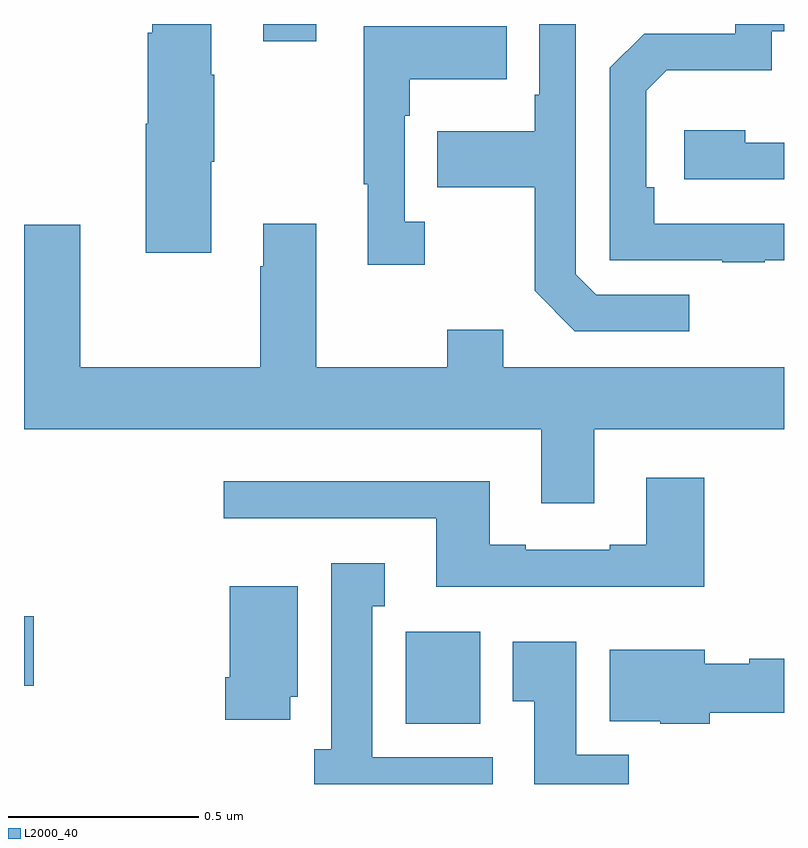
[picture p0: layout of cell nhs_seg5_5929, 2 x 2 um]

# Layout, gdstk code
import gdstk
lib = gdstk.Library(unit=1e-6, precision=1e-09)
def R(c, l, rs):  # rectangles x0, y0, x1, y1
    for r in rs: c.add(gdstk.rectangle(r[:2], r[2:], *l))
def P(c, l, *ps):  # polygons
    for p in ps: c.add(gdstk.Polygon(p, *l))
L2000_40 = (2000, 40)

nhs_seg5_5929 = lib.new_cell('nhs_seg5_5929')
R(nhs_seg5_5929, L2000_40, [(190.004,883.958,190.201,884.2), (189,884.057,189.025,884.24), (189.629,885.753,189.769,885.799)])
P(nhs_seg5_5929, L2000_40, [(190.75,885.087),(190.506,885.087),(190.452,885.141),(190.452,885.799),(190.356,885.799),(190.356,885.613),(190.344,885.613),(190.344,885.517),(190.087,885.517),(190.087,885.37),(190.344,885.37),(190.344,885.097),(190.449,884.991),(190.75,884.991)],
  [(189.493,885.437),(189.501,885.437),(189.501,885.665),(189.493,885.665),(189.493,885.799),(189.338,885.799),(189.338,885.776),(189.326,885.776),(189.326,885.537),(189.32,885.537),(189.32,885.197),(189.493,885.197)],
  [(190.949,885.177),(191,885.177),(191,885.273),(190.658,885.273),(190.658,885.37),(190.638,885.37),(190.638,885.624),(190.691,885.677),(190.968,885.677),(190.968,885.78),(191,885.78),(191,885.799),(190.872,885.799),(190.872,885.774),(190.632,885.774),(190.542,885.684),(190.542,885.177),(190.837,885.177),(190.837,885.172),(190.949,885.172)],
  [(190.054,885.278),(190.002,885.278),(190.002,885.557),(190.015,885.557),(190.015,885.653),(190.271,885.653),(190.271,885.793),(189.894,885.793),(189.894,885.377),(189.905,885.377),(189.905,885.165),(190.054,885.165)],
  [(191,885.486),(190.898,885.486),(190.898,885.52),(190.737,885.52),(190.737,885.39),(191,885.39)],
  [(190.501,884.732),(191,884.732),(191,884.896),(190.261,884.896),(190.261,884.995),(190.114,884.995),(190.114,884.896),(189.769,884.896),(189.769,885.274),(189.629,885.274),(189.629,885.161),(189.622,885.161),(189.622,884.896),(189.148,884.896),(189.148,885.271),(189,885.271),(189,884.732),(190.361,884.732),(190.361,884.538),(190.501,884.538)],
  [(190.79,884.605),(190.637,884.605),(190.637,884.428),(190.541,884.428),(190.541,884.415),(190.321,884.415),(190.321,884.428),(190.225,884.428),(190.225,884.596),(189.525,884.596),(189.525,884.499),(190.085,884.499),(190.085,884.318),(190.79,884.318)],
  [(190.234,883.87),(189.916,883.87),(189.916,884.267),(189.949,884.267),(189.949,884.38),(189.809,884.38),(189.809,883.89),(189.764,883.89),(189.764,883.799),(190.234,883.799)],
  [(189.7,884.028),(189.721,884.028),(189.721,884.32),(189.542,884.32),(189.542,884.08),(189.53,884.08),(189.53,883.968),(189.7,883.968)],
  [(190.592,883.876),(190.453,883.876),(190.453,884.173),(190.286,884.173),(190.286,884.017),(190.343,884.017),(190.343,883.799),(190.592,883.799)],
  [(190.805,883.987),(191,883.987),(191,884.129),(190.908,884.129),(190.908,884.116),(190.792,884.116),(190.792,884.152),(190.541,884.152),(190.541,883.964),(190.674,883.964),(190.674,883.958),(190.805,883.958)])

lib.write_gds('nhs_seg5_5929.gds')
